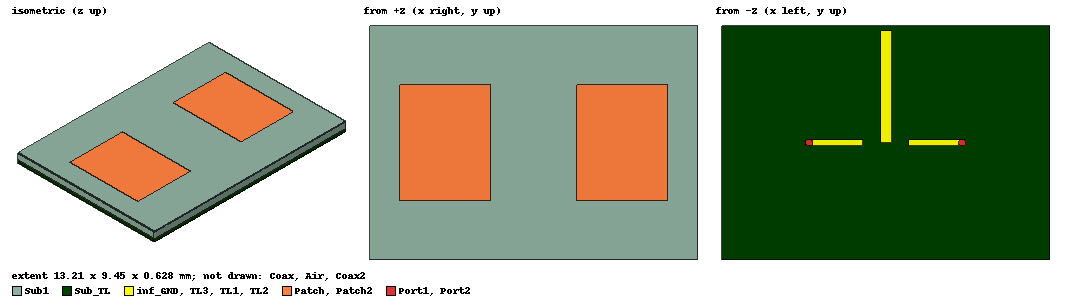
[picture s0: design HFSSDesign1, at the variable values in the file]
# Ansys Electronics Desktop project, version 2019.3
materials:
  vacuum: permittivity=1
  Rogers RT/duroid 5880 (tm): permittivity=2.2 dielectric_loss_tangent=0.0009
  pec: conductivity=1e+30
  Rogers RO4003 (tm): permittivity=3.55 dielectric_loss_tangent=0.0027

design HFSSDesign1 (HFSS, DrivenTerminal, model units mm)
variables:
  Lp = 3.63mm
  Wp = 4.7mm
  hs = 0.425mm
  Ws = 6*hs+Wp*2 -2.5mm
  Ls = 14*hs+Lp*2
  xsub = -Ls/2
  ysub = -Ws/2
  xfeed = 1.33mm
  dp = 3.5mm
  rcoax = 0.14mm
  hcoax = 0.203mm
  rprope = 0.07mm
  Lair = 0.01+Ls
  Wair = 0.01+Ws
  xair = Lair/2
  yair = Wair/2
  hair = 5mm
  yfeed = 0mm
  xp = dp/2
  yp = -Wp/2
  Wp2 = 12*hs+Wp*2
  hgnd = -0.032mm
  X_TL_1 = 2.288307mm
  Y_TL_1 = 0.276146mm
  hs_TL = 0.203mm
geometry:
  Sub1 [Rogers RO4003 (tm)] = box(corner=(xsub, ysub, 0mm), size=(Ls, Ws, hs))
  Patch [Rogers RT/duroid 5880 (tm)] = rectangle(corner=(xp, yp, hs), x_size=Lp, y_size=Wp)
  Coax [vacuum] = cylinder(axis=Z, base_centre=(xp+xfeed, yfeed, 0mm), radius=rcoax, height=-hcoax)
  Coax_Pin [pec] = cylinder(axis=Z, base_centre=(xp+xfeed, yfeed, 0mm), radius=rprope, height=-hcoax)
  Port1 [pec] = circle(normal=Z, centre=(xp+xfeed, yfeed, -hcoax), radius=rcoax)
  Prope [pec] = cylinder(axis=Z, base_centre=(xp+xfeed, yfeed, 0mm), radius=rprope, height=hs)
  Air [vacuum] = box(corner=(-xair, -yair, 0), size=(Lair, Wair, hair))
  Patch2 = rectangle(corner=(xp-Lp-dp, yp, hs), x_size=Lp, y_size=Wp)
  Coax2 [vacuum] = cylinder(axis=Z, base_centre=(-(xp+xfeed), yfeed, 0mm), radius=rcoax, height=-hcoax)
  Coax_Pin2 [pec] = cylinder(axis=Z, base_centre=(-(xp+xfeed), yfeed, 0mm), radius=rprope, height=-hcoax)
  Port2 [pec] = circle(normal=Z, centre=(-(xp+xfeed), yfeed, -hcoax), radius=rcoax)
  Prope2 [pec] = cylinder(axis=Z, base_centre=(-(xp+xfeed), yfeed, 0mm), radius=rprope, height=hs)
  inf_GND [pec] = box(corner=(xsub, ysub, 0mm), size=(Ls, Ws, hgnd))
  Cylinder_cut_2 = cylinder(axis=Z, base_centre=(-(xp+xfeed), yfeed, 0), radius=rcoax, height=hgnd)
  Cylinder_cut_1 = cylinder(axis=Z, base_centre=(xp+xfeed, yfeed, 0), radius=rcoax, height=hgnd)
  inf_GND.subtract(Cylinder_cut_1)
  inf_GND.subtract(Cylinder_cut_2)
  Sub_TL [Rogers RO4003 (tm)] = box(corner=(xsub, ysub, 0mm), size=(Ls, Ws, -hs_TL))
  TL1 [pec] = rectangle(corner=(-3.23mm, -0.14mm, -0.203mm), x_size=X_TL_1, y_size=Y_TL_1)
  TL2 [pec] = rectangle(corner=((-3.26+4.2) mm, -0.14mm, -0.203mm), x_size=X_TL_1, y_size=Y_TL_1)
  TL3 [pec] = rectangle(corner=(-0.25mm, 0mm, -0.203mm), x_size=0.45407mm, y_size=4.494783mm)
  group Input_feed1 = Coax, Coax_Pin, Port1, Prope
  group Input_feed2 = Coax2, Coax_Pin2, Port2, Prope2
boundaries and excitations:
  PerfE_Patch: Perfect E Objects=Patch
  Rad1: Radiation Faces=Air.face(+x, +y, -y, -x, +z)
  PerfE1: Perfect E Objects=Patch2
  PerfE_TL: Perfect E Objects=[TL1, TL2]
  PerfE2: Perfect E Objects=TL3
  Coax_Pin_T1: Terminal port=1 Faces=Coax_Pin.face(2 of 3) TerminalResistance=50ohm
  Coax_Pin2_T1: Terminal port=2 Faces=Coax_Pin2.face(2 of 3) TerminalResistance=50ohm
  1: Wave Port Faces=Port1.face NumModes=1
  2: Wave Port Faces=Port2.face NumModes=1
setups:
  Setup1: HfssDriven Frequency=20GHz MaxDeltaS=0.02 MaximumPasses=18 MinimumPasses=1 MinimumConvergedPasses=1 PercentRefinement=30 BasisOrder=1 PortAccuracy=2
    sweep Sweep: 17GHz to 23GHz step 0.1GHz; Type=Fast SaveFields SaveRadFields GenerateFieldsForAllFreqs
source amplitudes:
  1:1: 1V 0deg
  2:1: 0V 0deg
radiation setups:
  e_plane: Infinite Sphere Theta=-180deg..180deg step 2deg Phi=0deg..0deg step 1deg
  h_plane: Infinite Sphere Theta=-180deg..180deg step 2deg Phi=90deg..90deg step 1deg
  3d: Infinite Sphere Theta=-180deg..180deg step 2deg Phi=0deg..360deg step 2deg
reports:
  Zin: mag(Zt(Coax_Pin_T1,Coax_Pin_T1)) vs Freq on Setup1 : Sweep; markers MX1 at x=2e+10
  Eradation_pattern: abs(rETotal) vs Theta on Setup1 : LastAdaptive, e_plane [Phi=all Freq=20GHz]
  Hradation_pattern: abs(rETotal) vs Theta on Setup1 : LastAdaptive, h_plane [Phi=all Freq=20GHz]
  Co_X_graph: dB10normalize(GainPhi), dB10normalize(GainTheta) vs Theta on Setup1 : LastAdaptive, e_plane [Phi=0deg Freq=20GHz]
  S11: dB(St(Coax_Pin_T1,Coax_Pin_T1)) vs Freq on Setup1 : Sweep [hs=0.425mm]; markers MX1 at x=2.000974e+10
  S21: dB(St(Coax_Pin2_T1,Coax_Pin_T1)) vs Freq on Setup1 : Sweep; markers m1 at 23GHz, MX1 at x=2e+10
  Efield: dB(rETotal) vs Theta on Setup1 : LastAdaptive, e_plane [Phi=0deg Freq=20GHz]
  3D_rad_patt: dB(rETotal) vs Phi, Theta on Setup1 : LastAdaptive, 3d [Freq=20GHz]
  S11_Smith_chart: St(Coax_Pin_T1,Coax_Pin_T1) on Setup1 : Sweep [Freq=all]
  Terminal VSWR Plot 1: dB(VSWRt(Coax_Pin_T1)) vs Freq on Setup1 : Sweep [hs=0.425mm]; markers MX1 at x=2.0009662e+10
